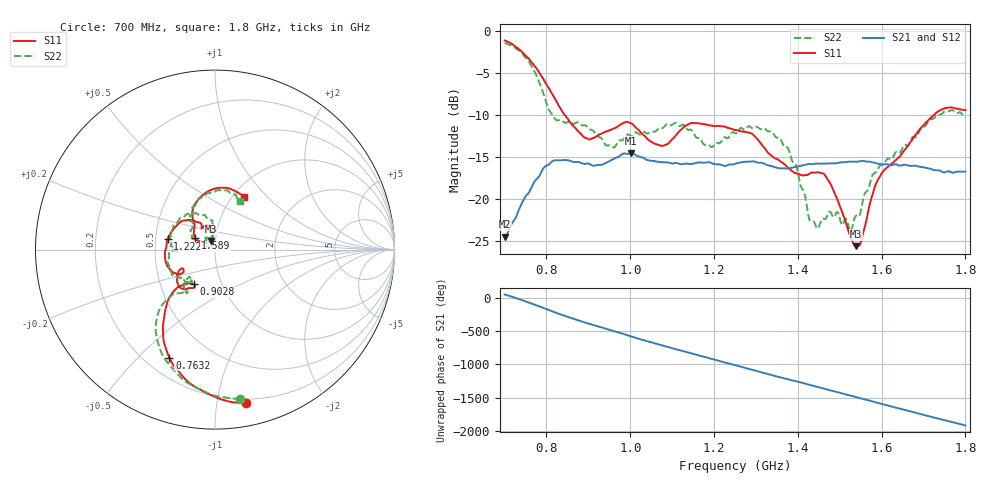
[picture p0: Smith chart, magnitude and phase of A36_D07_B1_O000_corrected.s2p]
! Created with skrf 1.9.0 (http://scikit-rf.org).
# Hz S RI R 50.0
!freq ReS11 ImS11 ReS21 ImS21 ReS12 ImS12 ReS22 ImS22
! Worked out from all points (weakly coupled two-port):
!   1601 points, 700 MHz to 1.8 GHz, reference 50 ohm
!   highest |S21| = -14.54 dB at 1.002 GHz (marker M1); lowest = -24.5 dB at 700 MHz (marker M2)
!   lowest |S11| = -25.6 dB at 1.538 GHz (marker M3), VSWR 1.11, Z = 47.6 + j4.52 ohm
!   |S11| at or under -10 dB: 843.3 MHz to 1.725 GHz (881.4 MHz wide, 68.6 % of centre)
!   |S22| runs from -23.9 to -1.5 dB; largest |S21 - S12| = 0.0035
!   S11 on the Smith chart (normalised r, x): 700 MHz: 0.17, -1.21; 763.2 MHz: 0.30, -0.62; 902.8 MHz: 0.74, -0.30; 1.222 GHz: 0.58, +0.07; 1.589 GHz: 0.80, +0.10; 1.8 GHz: 1.13, +0.75
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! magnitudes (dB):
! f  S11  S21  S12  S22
! 700 MHz  -1.2  -24.5  -24.2  -1.5
! 763.2 MHz  -3.7  -18.7  -18.7  -4.1
! 818.9 MHz  -8.0  -15.4  -15.5  -10.4
! 883.6 MHz  -12.3  -15.7  -15.6  -11.2
! 902.8 MHz  -12.9  -15.8  -15.8  -11.7
! 959.2 MHz  -11.7  -15.3  -15.3  -13.9
! 1.002 GHz  -11.0  -14.5  -14.7  -12.5
! 1.067 GHz  -13.6  -15.6  -15.5  -11.7
! 1.144 GHz  -11.0  -15.8  -15.8  -11.8
! 1.222 GHz  -11.4  -16.0  -16.1  -12.8
! 1.25 GHz  -11.8  -15.8  -15.8  -12.2
! 1.357 GHz  -15.5  -16.4  -16.3  -12.8
! 1.396 GHz  -16.9  -16.2  -16.2  -16.0
! 1.434 GHz  -16.9  -15.9  -15.8  -22.6
! 1.473 GHz  -17.8  -15.8  -15.8  -21.6
! 1.526 GHz  -24.4  -15.6  -15.6  -23.9
! 1.538 GHz  -25.6  -15.6  -15.6  -22.0
! 1.551 GHz  -25.0  -15.5  -15.5  -21.2
! 1.589 GHz  -17.9  -15.8  -15.8  -16.6
! 1.617 GHz  -16.1  -15.9  -15.9  -15.2
! 1.733 GHz  -9.7  -16.6  -16.6  -10.0
! 1.8 GHz  -9.4  -16.7  -16.7  -10.2
